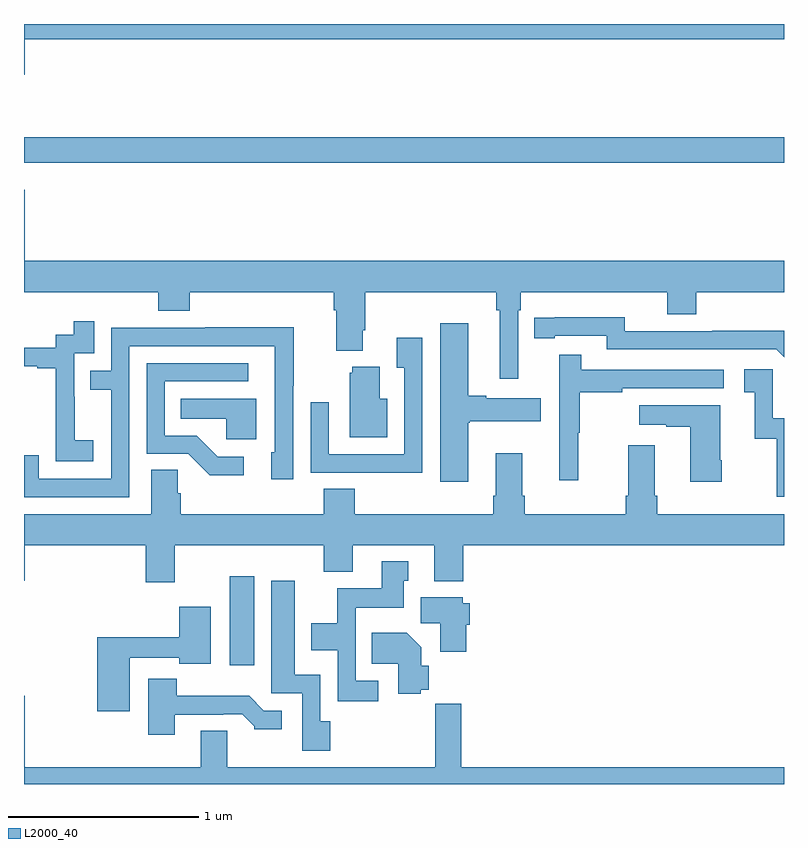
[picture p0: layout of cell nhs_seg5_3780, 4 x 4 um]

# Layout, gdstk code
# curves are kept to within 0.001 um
import gdstk
lib = gdstk.Library(unit=1e-6, precision=1e-09)
def R(c, l, rs):  # rectangles x0, y0, x1, y1
    for r in rs: c.add(gdstk.rectangle(r[:2], r[2:], *l))
def P(c, l, *ps):  # polygons
    for p in ps: c.add(gdstk.Polygon(p, *l))
L2000_40 = (2000, 40)

nhs_seg5_3780 = lib.new_cell('nhs_seg5_3780')
R(nhs_seg5_3780, L2000_40, [(334.082,893.424,334.213,893.893), (333,896.068,337,896.204)])
P(nhs_seg5_3780, L2000_40, [(333.004,896.72),(337,896.72),(337,896.799),(333,896.799),(333,896.532),(333.004,896.532)],
  [(335.601,895.292),(335.615,895.292),(335.615,895.388),(336.386,895.388),(336.386,895.271),(336.539,895.271),(336.539,895.388),(337,895.388),(337,895.552),(333.004,895.552),(333.004,895.927),(333,895.927),(333,895.388),(333.707,895.388),(333.707,895.289),(333.872,895.289),(333.872,895.388),(334.631,895.388),(334.631,895.292),(334.643,895.292),(334.643,895.079),(334.783,895.079),(334.783,895.186),(334.796,895.186),(334.796,895.388),(335.485,895.388),(335.485,895.292),(335.504,895.292),(335.504,894.933),(335.601,894.933)],
  [(337,895.184),(336.622,895.184),(336.622,895.182),(336.162,895.182),(336.162,895.255),(335.686,895.254),(335.686,895.146),(335.794,895.146),(335.794,895.158),(336.066,895.158),(336.066,895.086),(336.96,895.086),(337,895.046)],
  [(333.364,894.607),(333.266,894.607),(333.266,894.836),(333.264,894.836),(333.264,895.065),(333.369,895.065),(333.369,895.234),(333.261,895.234),(333.261,895.164),(333.168,895.164),(333.168,895.095),(333,895.095),(333,894.999),(333.071,894.999),(333.071,894.987),(333.167,894.987),(333.167,894.703),(333.166,894.703),(333.166,894.497),(333.364,894.497)],
  [(335.338,894.7),(335.346,894.7),(335.346,894.707),(335.719,894.707),(335.719,894.829),(335.434,894.829),(335.434,894.842),(335.338,894.842),(335.338,895.225),(335.192,895.225),(335.192,894.39),(335.338,894.39)],
  [(333.555,895.104),(334.319,895.104),(334.319,894.85),(334.32,894.85),(334.32,894.546),(334.301,894.546),(334.301,894.402),(334.416,894.402),(334.416,894.895),(334.419,894.895),(334.419,895.202),(333.955,895.202),(333.955,895.2),(333.459,895.2),(333.459,894.975),(333.349,894.975),(333.349,894.874),(333.459,894.874),(333.459,894.405),(333.078,894.405),(333.078,894.528),(333,894.528),(333,894.309),(333.555,894.309)],
  [(335.097,895.147),(334.961,895.147),(334.961,894.991),(335.001,894.991),(335.001,894.534),(334.605,894.534),(334.605,894.808),(334.509,894.808),(334.509,894.438),(334.825,894.438),(334.825,894.437),(335.097,894.437)],
  [(335.918,894.648),(335.926,894.648),(335.926,894.862),(336.149,894.862),(336.149,894.882),(336.682,894.882),(336.682,894.978),(335.933,894.978),(335.933,895.057),(335.817,895.057),(335.817,894.611),(335.816,894.611),(335.816,894.399),(335.918,894.399)],
  [(334.156,894.522),(334.021,894.522),(333.91,894.633),(333.741,894.633),(333.741,894.918),(334.18,894.918),(334.18,895.014),(333.645,895.014),(333.645,894.537),(333.864,894.537),(333.977,894.425),(334.156,894.425)],
  [(334.912,894.826),(334.873,894.826),(334.873,894.994),(334.727,894.994),(334.727,894.963),(334.715,894.963),(334.715,894.623),(334.912,894.623)],
  [(337,894.723),(336.942,894.723),(336.942,894.982),(336.792,894.982),(336.792,894.861),(336.845,894.861),(336.845,894.615),(336.963,894.615),(336.963,894.312),(337,894.312)],
  [(334.222,894.826),(333.826,894.826),(333.826,894.722),(334.065,894.722),(334.065,894.614),(334.222,894.614)],
  [(336.672,894.502),(336.664,894.502),(336.664,894.793),(336.237,894.793),(336.237,894.689),(336.38,894.689),(336.38,894.679),(336.506,894.679),(336.506,894.39),(336.672,894.39)],
  [(333.793,894.056),(334.577,894.056),(334.577,893.915),(334.729,893.915),(334.729,894.056),(335.159,894.056),(335.159,893.867),(335.312,893.867),(335.312,894.056),(337,894.056),(337,894.22),(336.332,894.22),(336.332,894.316),(336.319,894.316),(336.319,894.583),(336.179,894.583),(336.179,894.316),(336.167,894.316),(336.167,894.22),(335.636,894.22),(335.636,894.316),(335.623,894.316),(335.623,894.541),(335.483,894.541),(335.483,894.316),(335.471,894.316),(335.471,894.22),(334.742,894.22),(334.742,894.353),(334.577,894.353),(334.577,894.22),(333.824,894.22),(333.824,894.329),(333.81,894.329),(333.81,894.452),(333.671,894.452),(333.671,894.22),(333,894.22),(333,893.868),(333.004,893.868),(333.004,894.056),(333.641,894.056),(333.641,893.862),(333.793,893.862)],
  [(334.864,893.343),(334.746,893.343),(334.746,893.726),(334.999,893.726),(334.999,893.868),(335.023,893.868),(335.023,893.971),(334.883,893.971),(334.883,893.83),(334.648,893.83),(334.648,893.644),(334.511,893.644),(334.511,893.504),(334.65,893.504),(334.65,893.235),(334.864,893.235)],
  [(334.613,893.13),(334.56,893.13),(334.56,893.374),(334.426,893.374),(334.426,893.869),(334.301,893.869),(334.301,893.277),(334.464,893.277),(334.464,892.974),(334.613,892.974)],
  [(335.327,893.637),(335.345,893.637),(335.345,893.751),(335.31,893.751),(335.31,893.782),(335.087,893.782),(335.087,893.644),(335.192,893.644),(335.192,893.496),(335.327,893.496)],
  [(333.556,893.463),(333.818,893.463),(333.818,893.432),(333.982,893.432),(333.982,893.731),(333.818,893.731),(333.818,893.572),(333.386,893.572),(333.386,893.181),(333.556,893.181)],
  [(335.088,893.294),(335.131,893.294),(335.131,893.422),(335.092,893.422),(335.092,893.518),(335.014,893.596),(334.831,893.596),(334.831,893.432),(334.97,893.432),(334.97,893.275),(335.088,893.275)],
  [(333.793,893.163),(334.049,893.163),(334.049,893.166),(334.148,893.166),(334.212,893.102),(334.212,893.087),(334.357,893.087),(334.357,893.184),(334.263,893.184),(334.185,893.263),(333.805,893.263),(333.805,893.353),(333.653,893.353),(333.653,893.058),(333.793,893.058)],
  [(337,892.888),(335.3,892.888),(335.3,893.221),(335.165,893.221),(335.165,893.108),(335.164,893.108),(335.164,892.888),(334.069,892.888),(334.069,893.078),(333.929,893.078),(333.929,892.888),(333.004,892.888),(333.004,893.263),(333,893.263),(333,892.799),(337,892.799)])

lib.write_gds('nhs_seg5_3780.gds')
